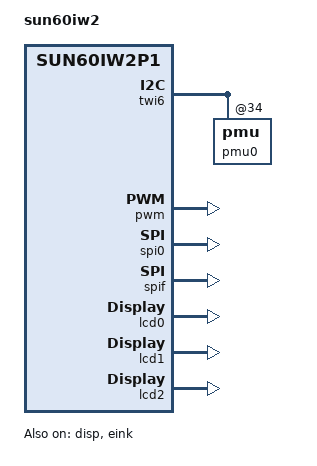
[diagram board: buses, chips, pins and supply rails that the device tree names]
/*
 * Allwinner Technology CO., Ltd. sun50iw10p1 platform
 *
 * modify base on juno.dts
 */
/dts-v1/;
#include <dt-bindings/interrupt-controller/arm-gic.h>
#include <dt-bindings/gpio/gpio.h>
#include "sun60iw2p1-clk.dtsi"
/*#include "sun50iw10p1-pinctrl.dtsi"*/
#include <dt-bindings/thermal/thermal.h>
/ {
	model = "sun60iw2";
	compatible = "allwinner,a733", "arm,sun60iw2p1";
	#address-cells = <2>;
	#size-cells = <2>;
	soc: soc@29000000 {
		#address-cells = <2>;
		#size-cells = <2>;
		power_sply:power_sply@4500000c {
			device_type = "power_sply";

		};

		power_delay:power_delay@4500024 {
			device_type = "power_delay";
		};

		platform:platform@45000004 {
			device_type = "platform";

		};

		target:target@45000008 {
			device_type = "target";

		};

		charger0:charger0@45000010 {
			device_type = "charger0";

		};
		card_boot:card_boot@45000014 {
			device_type = "card_boot";
			logical_start   = <40960>;
			/* sprite_gpio0 = <&pio PH 6 1 0xffffffff 0xffffffff 1>; */
			sprite_gpio0 = <&pio 0x7 0x6 0x1 0xffffffff 0xffffffff 0x1>;
		};

		gpio_bias:gpio_bias@45000018 {
			device_type = "gpio_bias";
		};

		fastboot_key:fastboot_key@4500001c {
			device_type = "fastboot_key";
			key_max = <42>;
			key_min = <38>;
		};

		recovery_key:recovery_key@45000020 {
			device_type = "recovery_key";
			key_max = <31>;
			key_min = <28>;
		};

		pio: pinctrl@0300b000 {
			compatible = "allwinner,sun60iw2p1-pinctrl";
			device_type = "pio";
			gpio-controller;
			#size-cells = <0>;
			#gpio-cells = <6>;
			/* takes the debounce time in usec as argument */
			input-debounce = <0 0 0 0 0 0 0 0 0>;
			r_pio: pinctrl@07022000 {

				s_twi0_pins_a: s_twi0@0 {
					allwinner,pins = "PL0", "PL1";
					allwinner,pname = "s_twi0_scl", "s_twi0_sda";
					allwinner,function = "s_twi0";
					allwinner,muxsel = <2>;
					allwinner,drive = <1>;
					allwinner,pull = <1>;
				};

				s_twi0_pins_b: s_twi0@1 {
					allwinner,pins = "PL0", "PL1";
					allwinner,function = "gpio_out";
					allwinner,muxsel = <1>;
					allwinner,drive = <1>;
					allwinner,pull = <1>;
				};
			};
			sdc0_pins_a: sdc0@0 {
			};

			sdc0_pins_b: sdc0@1 {
			};

			sdc0_pins_c: sdc0@2 {
			};

			sdc2_pins_a: sdc2@0 {
			};

			sdc2_pins_b: sdc2@1 {
			};

			sdc2_pins_c: sdc2@2 {
			};

			nand0_pins_a: nand0@0 {
			};

			nand0_pins_b: nand0@1 {
			};

			nand0_pins_c: nand0@2 {
			};

			spi0_pins_a: spi0@0 {
			};

			spi0_pins_b: spi0@1 {
			};

			spi0_pins_c: spi0@2 {
			};

			spif_pins_a: spif@0 {
			};

			spif_pins_b: spif@1 {
			};

			spif_pins_c: spif@2 {
			};

			twi6: s_twi@0x07081400 {
				pmu0: pmu@34 {
				};
			};
			lvds0_pins_a: lvds0@0 {
			};
			lvds0_pins_b: lvds0@1 {
			};
			lvds1_pins_a: lvds1@0 {
			};
			lvds1_pins_b: lvds1@1 {
			};
			lvds2_pins_a: lvds2@0 {
			};
			lvds2_pins_b: lvds2@1 {
			};
			lvds3_pins_a: lvds3@0 {
			};
			lvds3_pins_b: lvds3@1 {
			};
			lcd1_lvds2link_pins_a: lcd1_lvds2link@0 {
			};
			lcd1_lvds2link_pins_b: lcd1_lvds2link@1 {
			};
			lvds2link_pins_a: lvds2link@0 {
			};
			lvds2link_pins_b: lvds2link@1 {
			};
			rgb24_pins_a: rgb24@0 {
			};
			rgb24_pins_b: rgb24@1 {
			};
			rgb18_pins_a: rgb18@0 {
			};
			rgb18_pins_b: rgb18@1 {
			};
			eink_pins_a: eink@0 {
			};
			eink_pins_b: eink@1 {
			};
			dsi4lane_pins_a: dsi4lane@0{
			}; /* avoid compile err */
			dsi4lane_pins_b: dsi4lane@1{
			}; /* avoid compile err */
			dsi0_4lane_pins_a: dsi0_4lane@0 {
			};
			dsi0_4lane_pins_b: dsi0_4lane@1 {
			};
			dsi1_4lane_pins_a: dsi1_4lane@0 {
			};
			dsi1_4lane_pins_b: dsi1_4lane@1 {
			};
			pwm0_pin_a: pwm0@0 {
			};

			pwm0_pin_b: pwm0@1 {
			};

			pwm1_pin_a: pwm1@0 {
			};

			pwm1_pin_b: pwm1@1 {
			};
		};

		pwm: pwm@2000c00 {
			#pwm-cells = <0x3>;
			compatible = "allwinner,sunxi-pwm";
			reg = <0x0 0x02000c00 0x0 0x3ff>;
			pwm-number = <16>;
			pwm-base = <0x0>;
			sunxi-pwms = <&pwm0>, <&pwm1>, <&pwm2>, <&pwm3>, <&pwm4>,
			<&pwm5>, <&pwm6>, <&pwm7>, <&pwm8>, <&pwm9>,
			<&pwm10>, <&pwm11>, <&pwm12>, <&pwm13>,
			<&pwm14>, <&pwm15>;
		};

		pwm0: pwm0@2000c10 {
			compatible = "allwinner,sunxi-pwm0";
			reg = <0x0 0x02000c10 0x0 0x4>;
			reg_base = <0x02000c00>;
			status = "disabled";
		};

		pwm1: pwm1@2000c11 {
			compatible = "allwinner,sunxi-pwm1";
			reg = <0x0 0x02000c11 0x0 0x4>;
			reg_base = <0x02000c00>;
			status = "disabled";
		};

		pwm2: pwm2@2000c12 {
			compatible = "allwinner,sunxi-pwm2";
			reg = <0x0 0x02000c12 0x0 0x4>;
			reg_base = <0x02000c00>;
			status = "disabled";
		};

		pwm3: pwm3@2000c13 {
			compatible = "allwinner,sunxi-pwm3";
			reg = <0x0 0x02000c13 0x0 0x4>;
			reg_base = <0x02000c00>;
			status = "disabled";
		};

		pwm4: pwm4@2000c14 {
			compatible = "allwinner,sunxi-pwm4";
			reg = <0x0 0x02000c14 0x0 0x4>;
			reg_base = <0x02000c00>;
			status = "disabled";
		};

		pwm5: pwm5@2000c15 {
			compatible = "allwinner,sunxi-pwm5";
			reg = <0x0 0x02000c15 0x0 0x4>;
			reg_base = <0x02000c00>;
			status = "disabled";
		};

		pwm6: pwm6@2000c16 {
			compatible = "allwinner,sunxi-pwm6";
			reg = <0x0 0x02000c16 0x0 0x4>;
			reg_base = <0x02000c00>;
			status = "disabled";
		};

		pwm7: pwm7@2000c17 {
			compatible = "allwinner,sunxi-pwm7";
			reg = <0x0 0x02000c17 0x0 0x4>;
			reg_base = <0x02000c00>;
			status = "disabled";
		};

		pwm8: pwm8@2000c18 {
			compatible = "allwinner,sunxi-pwm8";
			reg = <0x0 0x02000c18 0x0 0x4>;
			reg_base = <0x02000c00>;
			status = "disabled";
		};

		pwm9: pwm9@2000c19 {
			compatible = "allwinner,sunxi-pwm9";
			reg = <0x0 0x02000c19 0x0 0x4>;
			reg_base = <0x02000c00>;
			status = "disabled";
		};

		pwm10: pwm10@2000c1a {
			compatible = "allwinner,sunxi-pwm10";
			reg = <0x0 0x02000c1a 0x0 0x4>;
			reg_base = <0x02000c00>;
			status = "disabled";
		};

		pwm11: pwm11@2000c1b {
			compatible = "allwinner,sunxi-pwm11";
			reg = <0x0 0x02000c1b 0x0 0x4>;
			reg_base = <0x02000c00>;
			status = "disabled";
		};

		pwm12: pwm12@2000c1c {
			compatible = "allwinner,sunxi-pwm12";
			reg = <0x0 0x02000c1c 0x0 0x4>;
			reg_base = <0x02000c00>;
			status = "disabled";
		};

		pwm13: pwm13@2000c1d {
			compatible = "allwinner,sunxi-pwm13";
			reg = <0x0 0x02000c1d 0x0 0x4>;
			reg_base = <0x02000c00>;
			status = "disabled";
		};

		pwm14: pwm14@2000c1e {
			compatible = "allwinner,sunxi-pwm14";
			reg = <0x0 0x02000c1e 0x0 0x4>;
			reg_base = <0x02000c00>;
			status = "disabled";
		};

		pwm15: pwm15@2000c1f {
			compatible = "allwinner,sunxi-pwm15";
			reg = <0x0 0x02000c1f 0x0 0x4>;
			reg_base = <0x02000c00>;
			status = "disabled";
		};

		card0_boot_para:card0_boot_para@2 {
			device_type = "card0_boot_para";
		};

		card2_boot_para:card2_boot_para@3 {
			device_type = "card2_boot_para";
		};

		nand0:nand0@04011000 {
			device_type = "nand0";
		};

		spi0: spi@4025000 {
			#address-cells = <1>;
			#size-cells = <0>;
			compatible = "allwinner,sun55i-spi";
			device_type = "spi0";
			reg = <0x0 0x04025000 0x0 0x300>;
			//interrupts-extended = <&plic0 31 IRQ_TYPE_LEVEL_HIGH>;
			//clocks = <&ccu CLK_PLL_PERIPH0>, <&ccu CLK_SPI0>, <&ccu CLK_BUS_SPI0>;
			//clock-names = "pll", "mod", "bus";
			//resets = <&ccu RST_BUS_SPI0>;
		};

		spif: spif@4f00000 {
			#address-cells = <1>;
			#size-cells = <0>;
			compatible = "allwinner,sun55i-spif";
			device_type = "spif";
			reg = <0x0 0x047f0000 0x0 0x1000>;
			//interrupts-extended = <&plic0 19 IRQ_TYPE_LEVEL_HIGH>;
			//clocks = <&ccu CLK_PLL_PERIPH0>, <&ccu CLK_SPIF>, <&ccu CLK_BUS_SPIF>;
			//clock-names = "pll", "mod", "bus";
			//resets = <&ccu RST_BUS_SPIF>;
		};

		disp: disp@5000000 {
			compatible = "allwinner,sunxi-disp";
			reg = <0x0 0x05000000 0x0 0x400000>, /*de*/
			      <0x0 0x05500000 0x0 0x1000>, /* display_if_top */
			      <0x0 0x05501000 0x0 0x1000>, /* tcon_lcd0 */
			      <0x0 0x05502000 0x0 0x1000>, /* tcon_lcd1 */
			      <0x0 0x05731000 0x0 0x1000>, /* tcon_lcd2 */
			      <0x0 0x05503000 0x0 0x1000>, /* tcon_tv0 */
			      <0x0 0x05504000 0x0 0x1000>, /* tcon_tv1 */
			      <0x0 0x05506000 0x0 0x1fff>, /* dsi0 */
			      <0x0 0x05508000 0x0 0x1fff>; /* dsi1 */
			interrupts = <GIC_SPI 87 IRQ_TYPE_LEVEL_HIGH>, /* DE */
				     <GIC_SPI 90 IRQ_TYPE_LEVEL_HIGH>, /* tcon_lcd0 */
				     <GIC_SPI 92 IRQ_TYPE_LEVEL_HIGH>, /* tcon_lcd1 */
				     <GIC_SPI 97 IRQ_TYPE_LEVEL_HIGH>, /* tcon_lcd2 */
				     <GIC_SPI 91 IRQ_TYPE_LEVEL_HIGH>, /* tcon_tv0 */
				     <GIC_SPI 96 IRQ_TYPE_LEVEL_HIGH>, /* tcon_tv1 */
				     <GIC_SPI 94 IRQ_TYPE_LEVEL_HIGH>, /* dsi0 */
				     <GIC_SPI 95 IRQ_TYPE_LEVEL_HIGH>; /* dsi1 */
			clocks = <&clk_de0>,
			//	 <&clk_de1>,
				 <&clk_dpss_top0>,
				 <&clk_tcon_lcd0>, /* tcon lcd */
				 <&clk_tcon_lcd1>,
				 <&clk_tcon_lcd2>,
			//	 <&clk_tcon_tv0>, /* tcon tv */
			//	 <&clk_tcon_tv1>,
				 <&clk_tcon_lcd1>,
				 <&clk_tcon_lcd2>,
				 <&clk_lvds0>,
				 <&clk_lvds1>,
				 <&clk_mipi_dsi0>,
				 <&clk_mipi_dsi1>,
				 <&clk_mipi_dsi_combphy0>,
				 <&clk_mipi_dsi_combphy1>;
		//	interrupt-parent = <&gic>;
			boot_disp = <0>;
			boot_disp1 = <0>;
			boot_disp2 = <0>;
			fb_base = <0>;
			status = "okay";
		};
		lcd0: lcd0@1c0c000 {
		//	#address-cells = <2>;
		//	#size-cells = <2>;
			compatible = "allwinner,sunxi-lcd0";
		//	reg = <0x0 0x1c0c000 0x0 0x0>;  /* Fake registers to avoid dtc compiling warnings */
			pinctrl-names = "active","sleep";
			status = "okay";
		};
		lcd0_1: lcd0_1@1c0c000 {
		};

		lcd1: lcd1@0 {
			compatible = "allwinner,sunxi-lcd1";
		//	reg = <0x0 0x1c0c000 0x0 0x0>;  /* Fake registers to avoid dtc compiling warnings */
			pinctrl-names = "active","sleep";
			status = "okay";
		};

		lcd1_1: lcd1_1@1 {
		};

		lcd1_2: lcd1_2@2 {
		};

		lcd2: lcd2@1c0c000 {
			compatible = "allwinner,sunxi-lcd2";
			/* Fake registers to avoid dtc compiling warnings */
		//	reg = <0x0 0x1c0c000 0x0 0x0>;
			pinctrl-names = "active","sleep";
			status = "okay";
		};
		eink: eink@6400000 {
			compatible = "allwinner,sunxi-eink";
			pinctrl-names = "active","sleep";
			reg = <0x0 0x06400000 0x0 0x01ffff>,/* eink */
			      <0x0 0x06000000 0x0 0x3fffff>;/* de */
			interrupts = <GIC_SPI 90 IRQ_TYPE_LEVEL_HIGH>, /* eink */
				     <GIC_SPI 88 IRQ_TYPE_LEVEL_HIGH>; /* de */
			clocks = <&clk_de0>,
				 <&clk_ee>,
				 <&clk_panel>;
			/* iommus = <&mmu_aw 6 1>; */
			interrupt-parent = <&gic>;
			status = "okay";
		};

		clk_test: clk_test@0x12345 {
			clocks = <&clk_sdmmc0_mod>,
				<&clk_sdmmc0_rst>,
				<&clk_sdmmc0_bus>,
				<&clk_sdmmc2_mod>,
				<&clk_sdmmc2_rst>,
				<&clk_sdmmc2_bus>;
			status = "okay";
		};
	};

	gic: interrupt-controller@3020000 {
		compatible = "arm,cortex-a15-gic", "arm,cortex-a9-gic";
		#interrupt-cells = <3>;
		#address-cells = <0>;
		device_type = "gic";
		interrupt-controller;
		reg = <0x0 0x03021000 0 0x1000>, /* GIC Dist */
		      <0x0 0x03022000 0 0x2000>, /* GIC CPU */
		      <0x0 0x03024000 0 0x2000>, /* GIC VCPU Control */
		      <0x0 0x03026000 0 0x2000>; /* GIC VCPU */
		interrupts = <GIC_PPI 9 0xf04>;  /* GIC Maintenence IRQ */
		interrupt-parent = <&gic>;
	};
	aliases:aliases@45100000 {
	};

};

#include ".board-uboot.dts"
